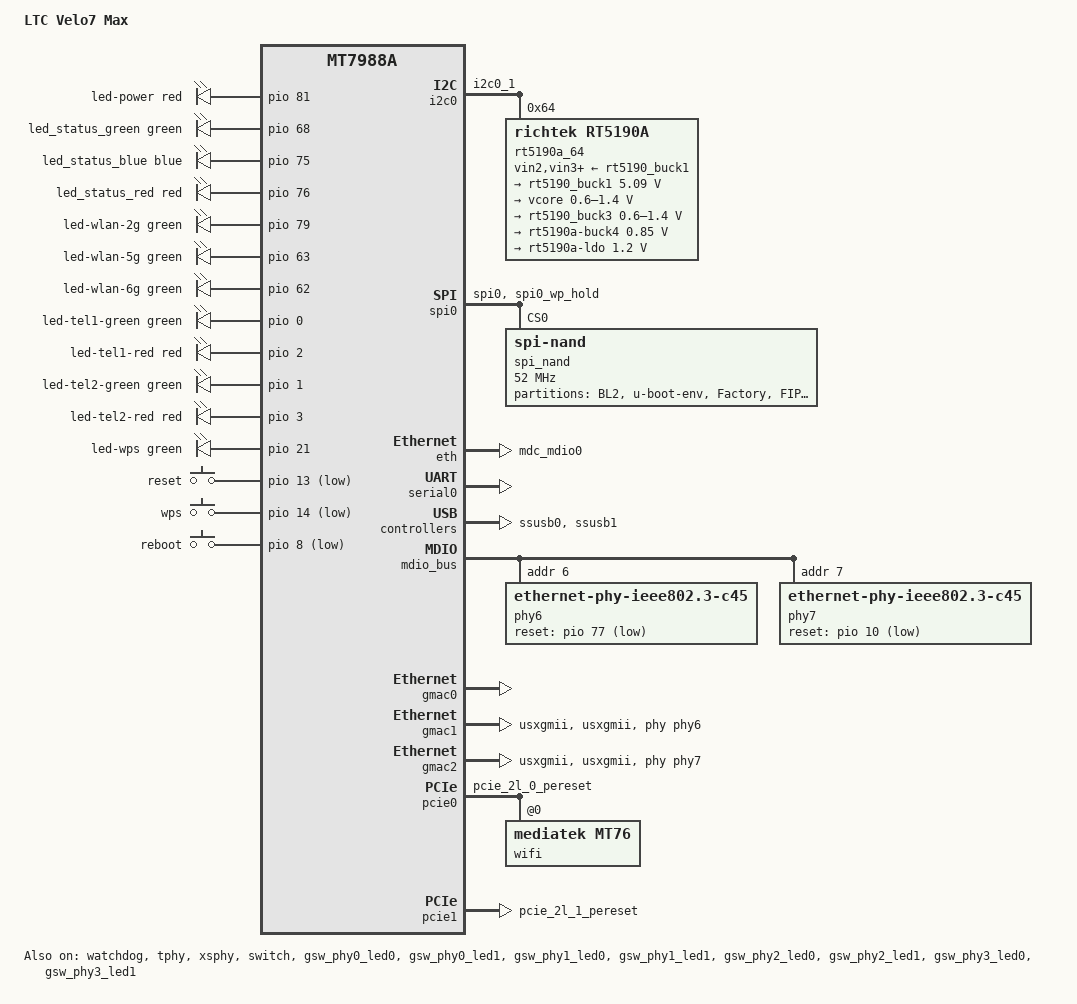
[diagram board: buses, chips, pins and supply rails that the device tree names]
// SPDX-License-Identifier: (GPL-2.0 OR MIT)

/dts-v1/;
#include "mt7988a.dtsi"
#include <dt-bindings/input/input.h>
#include <dt-bindings/gpio/gpio.h>
#include <dt-bindings/leds/common.h>
#include <dt-bindings/pinctrl/mt65xx.h>
#include <dt-bindings/regulator/richtek,rt5190a-regulator.h>

/ {
	compatible = "ltc,vl7m19k", "mediatek,mt7988a";
	model = "LTC Velo7 Max";

	aliases {
		serial0 = &serial0;
		label-mac-device = &gmac0;
		led-boot = &led_status_green;
		led-failsafe = &led_status_red;
		led-running = &led_status_green;
		led-upgrade = &led_status_blue;
	};

	chosen {
		stdout-path = "serial0:115200n8";
		bootargs = "console=ttyS0,115200n1 earlycon=uart8250,mmio32,0x11000000 pci=pcie_bus_perf";
	};

	gpio-leds {
		compatible = "gpio-leds";

		led-power {
			color = <LED_COLOR_ID_RED>;
			function = LED_FUNCTION_POWER;
			gpios = <&pio 81 GPIO_ACTIVE_HIGH>;
		};

		led_status_green: led-status-green {
			color = <LED_COLOR_ID_GREEN>;
			function = LED_FUNCTION_STATUS;
			gpios = <&pio 68 GPIO_ACTIVE_HIGH>;
		};

		led_status_blue: led-status-blue {
			color = <LED_COLOR_ID_BLUE>;
			function = LED_FUNCTION_STATUS;
			gpios = <&pio 75 GPIO_ACTIVE_HIGH>;
		};

		led_status_red: led-status-red {
			color = <LED_COLOR_ID_RED>;
			function = LED_FUNCTION_STATUS;
			gpios = <&pio 76 GPIO_ACTIVE_HIGH>;
		};

		led-wlan-2g {
			color = <LED_COLOR_ID_GREEN>;
			function = LED_FUNCTION_WLAN_2GHZ;
			gpios = <&pio 79 GPIO_ACTIVE_HIGH>;
		};

		led-wlan-5g {
			color = <LED_COLOR_ID_GREEN>;
			function = LED_FUNCTION_WLAN_5GHZ;
			gpios = <&pio 63 GPIO_ACTIVE_HIGH>;
		};

		led-wlan-6g {
			color = <LED_COLOR_ID_GREEN>;
			function = LED_FUNCTION_WLAN_6GHZ;
			gpios = <&pio 62 GPIO_ACTIVE_HIGH>;
		};

		led-tel1-green {
			color = <LED_COLOR_ID_GREEN>;
			function = "tel";
			function-enumerator = <1>;
			gpios = <&pio 0 GPIO_ACTIVE_HIGH>;
		};

		led-tel1-red {
			color = <LED_COLOR_ID_RED>;
			function = "tel";
			function-enumerator = <1>;
			gpios = <&pio 2 GPIO_ACTIVE_HIGH>;
		};

		led-tel2-green {
			color = <LED_COLOR_ID_GREEN>;
			function = "tel";
			function-enumerator = <2>;
			gpios = <&pio 1 GPIO_ACTIVE_HIGH>;
		};

		led-tel2-red {
			color = <LED_COLOR_ID_RED>;
			function = "tel";
			function-enumerator = <2>;
			gpios = <&pio 3 GPIO_ACTIVE_HIGH>;
		};

		led-wps {
			color = <LED_COLOR_ID_GREEN>;
			function = LED_FUNCTION_WPS;
			gpios = <&pio 21 GPIO_ACTIVE_HIGH>;
			default-state = "on";
		};
	};

	keys {
		compatible = "gpio-keys";

		button-reset {
			label = "reset";
			linux,code = <KEY_RESTART>;
			gpios = <&pio 13 GPIO_ACTIVE_LOW>;
		};

		button-wps {
			label = "wps";
			linux,code = <KEY_WPS_BUTTON>;
			gpios = <&pio 14 GPIO_ACTIVE_LOW>;
		};

		button-reboot {
			label = "reboot";
			linux,code = <KEY_POWER2>;
			gpios = <&pio 8 GPIO_ACTIVE_LOW>;
		};
	};
};

&i2c0 {
	pinctrl-names = "default";
	pinctrl-0 = <&i2c0_pins>;
	status = "okay";

	rt5190a_64: rt5190a@64 {
		compatible = "richtek,rt5190a";
		reg = <0x64>;
		vin2-supply = <&rt5190_buck1>;
		vin3-supply = <&rt5190_buck1>;
		vin4-supply = <&rt5190_buck1>;

		regulators {
			rt5190_buck1: buck1 {
				regulator-name = "rt5190a-buck1";
				regulator-min-microvolt = <5090000>;
				regulator-max-microvolt = <5090000>;
				regulator-allowed-modes =
				<RT5190A_OPMODE_AUTO RT5190A_OPMODE_FPWM>;
				regulator-boot-on;
				regulator-always-on;
			};

			buck2 {
				regulator-name = "vcore";
				regulator-min-microvolt = <600000>;
				regulator-max-microvolt = <1400000>;
				regulator-boot-on;
				regulator-always-on;
			};

			rt5190_buck3: buck3 {
				regulator-name = "vproc";
				regulator-min-microvolt = <600000>;
				regulator-max-microvolt = <1400000>;
				regulator-boot-on;
			};

			buck4 {
				regulator-name = "rt5190a-buck4";
				regulator-min-microvolt = <850000>;
				regulator-max-microvolt = <850000>;
				regulator-allowed-modes =
				<RT5190A_OPMODE_AUTO RT5190A_OPMODE_FPWM>;
				regulator-boot-on;
				regulator-always-on;
			};

			ldo {
				regulator-name = "rt5190a-ldo";
				regulator-min-microvolt = <1200000>;
				regulator-max-microvolt = <1200000>;
				regulator-boot-on;
				regulator-always-on;
			};
		};
	};
};

&cpu0 {
	proc-supply = <&rt5190_buck3>;
};

&cpu1 {
	proc-supply = <&rt5190_buck3>;
};

&cpu2 {
	proc-supply = <&rt5190_buck3>;
};

&cpu3 {
	proc-supply = <&rt5190_buck3>;
};

&cci {
	proc-supply = <&rt5190_buck3>;
};

&spi0 {
	pinctrl-names = "default";
	pinctrl-0 = <&spi0_flash_pins>;
	status = "okay";

	spi_nand@0 {
		compatible = "spi-nand";
		reg = <0>;
		spi-max-frequency = <52000000>;
		spi-rx-bus-width = <4>;
		spi-tx-bus-width = <4>;
		mediatek,nmbm;
		mediatek,bmt-max-ratio = <1>;
		mediatek,bmt-max-reserved-blocks = <256>;

		partitions {
			compatible = "fixed-partitions";
			#address-cells = <1>;
			#size-cells = <1>;

			partition@0 {
				label = "BL2";
				reg = <0x0 0x100000>;
				read-only;
			};

			partition@100000 {
				label = "u-boot-env";
				reg = <0x100000 0x80000>;
			};

			partition@180000 {
				label = "Factory";
				reg = <0x180000 0x400000>;
				read-only;

				nvmem-layout {
					compatible = "fixed-layout";
					#address-cells = <1>;
					#size-cells = <1>;

					eeprom_factory_0: eeprom@0 {
						reg = <0x0 0x1e00>;
					};

					macaddr_factory_4: macaddr@4 {
						compatible = "mac-base";
						reg = <0x4 0x6>;
						#nvmem-cell-cells = <1>;
					};
				};
			};

			partition@580000 {
				label = "FIP";
				reg = <0x580000 0x200000>;
			};

			partition@780000 {
				label = "ubi";
				reg = <0x780000 0xc080000>;
				compatible = "linux,ubi";
			};

			partition@c800000 {
				label = "config";
				reg = <0xc800000 0xa00000>;
				compatible = "linux,ubi";
			};

			partition@d200000 {
				label = "config_bak";
				reg = <0xd200000 0xa00000>;
				compatible = "linux,ubi";
			};

			partition@dc00000 {
				label = "data";
				reg = <0xdc00000 0x1400000>;
				compatible = "linux,ubi";
			};
		};
	};
};

&pio {
	pcie0_pins: pcie0-pins {
		mux {
			function = "pcie";
			groups = "pcie_2l_0_pereset";
		};
	};

	pcie1_pins: pcie1-pins {
		mux {
			function = "pcie";
			groups = "pcie_2l_1_pereset";
		};
	};

	mdio0_pins: mdio0-pins {
		mux {
			function = "eth";
			groups = "mdc_mdio0";
		};

		conf {
			groups = "mdc_mdio0";
			drive-strength = <MTK_DRIVE_8mA>;
		};
	};

	i2c0_pins: i2c0-g0-pins {
		mux {
			function = "i2c";
			groups = "i2c0_1";
		};
	};

	spi0_flash_pins: spi0-flash-pins {
		mux {
			function = "spi";
			groups = "spi0", "spi0_wp_hold";
		};
	};

	gbe0_led0_pins: gbe0-led0-pins {
		mux {
			function = "led";
			groups = "gbe0_led0";
		};
	};

	gbe0_led1_pins: gbe0-led1-pins {
		mux {
			function = "led";
			groups = "gbe0_led1";
		};
	};

	gbe1_led0_pins: gbe1-led0-pins {
		mux {
			function = "led";
			groups = "gbe1_led0";
		};
	};

	gbe1_led1_pins: gbe1-led1-pins {
		mux {
			function = "led";
			groups = "gbe1_led1";
		};
	};

	gbe2_led0_pins: gbe2-led0-pins {
		mux {
			function = "led";
			groups = "gbe2_led0";
		};
	};

	gbe2_led1_pins: gbe2-led1-pins {
		mux {
			function = "led";
			groups = "gbe2_led1";
		};
	};

	gbe3_led0_pins: gbe3-led0-pins {
		mux {
			function = "led";
			groups = "gbe3_led0";
		};
	};

	gbe3_led1_pins: gbe3-led1-pins {
		mux {
			function = "led";
			groups = "gbe3_led1";
		};
	};
};

&eth {
	pinctrl-names = "default";
	pinctrl-0 = <&mdio0_pins>;
	status = "okay";
};

&serial0 {
	status = "okay";
};

&watchdog {
	status = "okay";
};

&ssusb0 {
	status = "okay";
};

&ssusb1 {
	status = "okay";
};

&tphy {
	status = "okay";
};

&xsphy {
	status = "okay";
};

&mdio_bus {
	phy6: ethernet-phy@6 {
		reg = <6>;
		reset-gpios = <&pio 77 GPIO_ACTIVE_LOW>;
		reset-assert-us = <100000>;
		reset-deassert-us = <221000>;
		compatible = "ethernet-phy-ieee802.3-c45";
	};

	phy7: ethernet-phy@7 {
		reg = <7>;
		reset-gpios = <&pio 10 GPIO_ACTIVE_LOW>;
		reset-assert-us = <100000>;
		reset-deassert-us = <221000>;
		compatible = "ethernet-phy-ieee802.3-c45";
	};
};

&int_2p5g_phy {
	status = "disabled";
};

&gmac0 {
	nvmem-cells = <&macaddr_factory_4 (-2)>;
	nvmem-cell-names = "mac-address";
	status = "okay";
};

&gmac1 {
	phy-mode = "usxgmii";
	phy-connection-type = "usxgmii";
	managed = "in-band-status";
	phy = <&phy6>;
	nvmem-cells = <&macaddr_factory_4 (-2)>;
	nvmem-cell-names = "mac-address";
	status = "okay";
};

&gmac2 {
	phy-mode = "usxgmii";
	phy-connection-type = "usxgmii";
	managed = "in-band-status";
	phy = <&phy7>;
	nvmem-cells = <&macaddr_factory_4 (-1)>;
	nvmem-cell-names = "mac-address";
	status = "okay";
};

&switch {
	status = "okay";
};

&gsw_port0 {
	label = "lan0";
};

&gsw_phy0 {
	pinctrl-names = "gbe-led";
	pinctrl-0 = <&gbe0_led0_pins>, <&gbe0_led1_pins>;
};

&gsw_phy0_led0 {
	status = "okay";
	function = LED_FUNCTION_LAN;
	color = <LED_COLOR_ID_GREEN>;
};

&gsw_phy0_led1 {
	status = "okay";
	function = LED_FUNCTION_LAN;
	color = <LED_COLOR_ID_ORANGE>;
};

&gsw_port1 {
	label = "lan1";
};

&gsw_phy1 {
	pinctrl-names = "gbe-led";
	pinctrl-0 = <&gbe1_led0_pins>, <&gbe1_led1_pins>;
};

&gsw_phy1_led0 {
	status = "okay";
	function = LED_FUNCTION_LAN;
	color = <LED_COLOR_ID_GREEN>;
};

&gsw_phy1_led1 {
	status = "okay";
	function = LED_FUNCTION_LAN;
	color = <LED_COLOR_ID_ORANGE>;
};

&gsw_port2 {
	label = "lan2";
};

&gsw_phy2 {
	pinctrl-names = "gbe-led";
	pinctrl-0 = <&gbe2_led0_pins>, <&gbe2_led1_pins>;
};

&gsw_phy2_led0 {
	status = "okay";
	function = LED_FUNCTION_LAN;
	color = <LED_COLOR_ID_GREEN>;
};

&gsw_phy2_led1 {
	status = "okay";
	function = LED_FUNCTION_LAN;
	color = <LED_COLOR_ID_ORANGE>;
};

&gsw_port3 {
	label = "lan3";
};

&gsw_phy3 {
	pinctrl-names = "gbe-led";
	pinctrl-0 = <&gbe3_led0_pins>, <&gbe3_led1_pins>;
};

&gsw_phy3_led0 {
	status = "okay";
	function = LED_FUNCTION_LAN;
	color = <LED_COLOR_ID_GREEN>;
};

&gsw_phy3_led1 {
	status = "okay";
	function = LED_FUNCTION_LAN;
	color = <LED_COLOR_ID_ORANGE>;
};

&pcie0 {
	status = "okay";
	pinctrl-names = "default";
	pinctrl-0 = <&pcie0_pins>;
	wifi-reset-gpios = <&pio 7 GPIO_ACTIVE_LOW>;
	wifi-reset-msleep = <100>;

	pcie@0,0 {
		reg = <0x0000 0 0 0 0>;
		#address-cells = <3>;
		#size-cells = <2>;

		wifi@0,0 {
			compatible = "mediatek,mt76";
			reg = <0x0000 0 0 0 0>;
			nvmem-cells = <&eeprom_factory_0>;
			nvmem-cell-names = "eeprom";
		};
	};
};

&pcie1 {
	status = "okay";
	pinctrl-names = "default";
	pinctrl-0 = <&pcie1_pins>;
};
